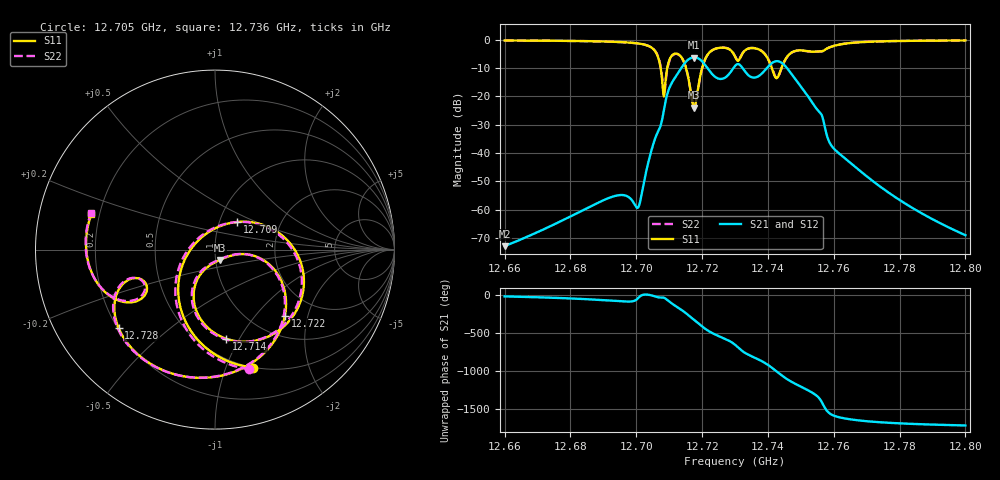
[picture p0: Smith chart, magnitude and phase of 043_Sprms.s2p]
! TOUCHSTONE file generated by CST MICROWAVE STUDIO
! Date and time: Wed Jul 31 12:50:30 2024
! Project name: WaveGuide_BPF-Ver4.1_U-shape_Ku_T3_C4_CWA_2.cst
! Parameters = {cavity_h=16; cavity_l0=10; cavity_l1=15.2208; cavity_l2=16.8195; cavity_l3=17.1132; cavity_l4=17.2563; cavity_l5=17.149; cavity_l6=17.5658; cavity_r=2.5; cavity_screw_l=0.5; cavity_screw_r=1.5; cavity_w=8; iris_h00=0; iris_h01=8.8007; iris_h112=0; iris_h12=5.6038; iris_h211=3.6673; i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
! Header version: 2018
! Port assignment regex: !\s*Touchstone port\s*([0-9]+)\s*=\s*(CST MWS port|CST DS port)\s*([0-9]+|Zmin|Zmax)\s*\(\"(.*)\"\)(\s*mode\s*([0-9]+))?.*
! Touchstone port assignment:
! Touchstone port 1 = CST MWS port 1 ("")
! Touchstone port 2 = CST MWS port 2 ("")
# GHz S RI R 50
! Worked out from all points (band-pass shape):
!   5001 points, 12.66 GHz to 12.8 GHz, reference 50 ohm
!   highest |S21| = -6.21 dB at 12.718 GHz (marker M1); lowest = -73.0 dB at 12.66 GHz (marker M2)
!   |S21| within 3 dB of the highest: 12.7141 GHz to 12.72114 GHz (7.043 MHz wide, 0.0554 % of centre); 12.74025 GHz to 12.74525 GHz (5 MHz wide, 0.0392 % of centre) (the widest 2 of 3)
!   lowest |S11| = -23.9 dB at 12.718 GHz (marker M3), VSWR 1.14, Z = 52.4 - j6.07 ohm
!   |S11| at or under -10 dB: 12.70742 GHz to 12.70941 GHz (1.99 MHz wide, 0.0157 % of centre); 12.71514 GHz to 12.71999 GHz (4.851 MHz wide, 0.0381 % of centre); 12.74119 GHz to 12.74409 GHz (2.9 MHz wide, 0.0228 % of centre)
!   |S22| runs from -24.4 to -0.2 dB; largest |S21 - S12| = 1e-09
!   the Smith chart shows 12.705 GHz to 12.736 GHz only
!   S11 on the Smith chart (normalised r, x): 12.705 GHz: 0.50, -1.25; 12.709 GHz: 1.21, +0.39; 12.714 GHz: 0.67, -0.89; 12.722 GHz: 1.40, -1.45; 12.728 GHz: 0.20, -0.34; 12.736 GHz: 0.17, +0.14
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12.66  0.3318 0.9225  0.000205 -9.07e-05  0.000205 -9.07e-05  0.3389 0.9198
12.68335  0.7525 0.592  0.000514 -0.000793  0.000514 -0.000793  0.7604 0.5812
12.70046  0.7967 -0.3491  0.000678 -0.00083  0.000678 -0.00083  0.7861 -0.3707
12.70519  0.2105 -0.6574  0.0139 -0.00429  0.0139 -0.00429  0.1918 -0.6667
12.70668  -0.1208 -0.4724  0.0198 -0.0141  0.0198 -0.0141  -0.1353 -0.4808
12.70892  0.1217 0.1538  0.0485 -0.0676  0.0485 -0.0676  0.0961 0.151
12.71088  0.4946 -0.2019  -0.0862 -0.1547  -0.0862 -0.1547  0.4834 -0.2004
12.71365  0.064 -0.4971  -0.2998 0.1028  -0.2998 0.1028  0.0483 -0.4961
12.71757  0.0266 -0.0577  0.4351 0.2241  0.4351 0.2241  0.0201 -0.0568
12.7176  0.0287 -0.0568  0.4389 0.2165  0.4389 0.2165  0.0222 -0.0559
12.72154  0.3896 -0.3677  -0.0976 -0.3063  -0.0976 -0.3063  0.3822 -0.3722
12.72812  -0.5362 -0.4384  -0.0978 0.2266  -0.0978 0.2266  -0.5444 -0.4327
12.73  -0.4819 -0.1686  0.1723 0.301  0.1723 0.301  -0.4893 -0.1666
12.73582  -0.689 0.1978  -0.0645 -0.2058  -0.0645 -0.2058  -0.6905 0.2045
12.74148  0.2194 0.1787  -0.1218 0.3807  -0.1218 0.3807  0.2165 0.1964
12.74501  -0.236 -0.3486  0.3539 -0.0582  0.3539 -0.0582  -0.2182 -0.3521
12.74859  -0.5879 0.2669  -0.0369 -0.19  -0.0369 -0.19  -0.5888 0.2578
12.75335  0.392 0.4839  -0.0703 0.038  -0.0703 0.038  0.3963 0.4738
12.75646  0.5917 -0.2225  0.0432 0.013  0.0432 0.013  0.5815 -0.2413
12.76105  0.0357 -0.8126  -0.0103 -0.00206  -0.0103 -0.00206  0.0117 -0.8151
12.77668  -0.9141 -0.27  -0.000743 0.00185  -0.000743 0.00185  -0.9182 -0.258
12.8  -0.9396 0.2813  8.04e-05 0.000342  8.04e-05 0.000342  -0.9377 0.2882
